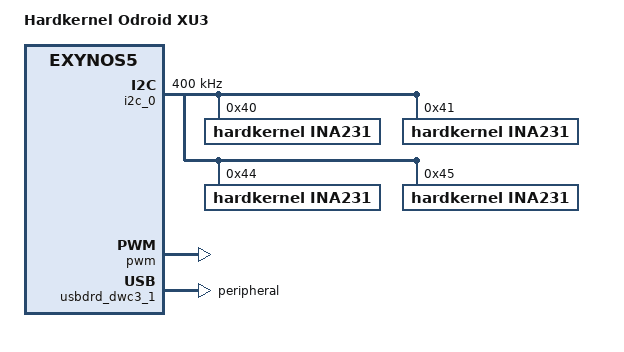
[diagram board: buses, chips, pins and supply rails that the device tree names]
/*
 * Hardkernel Odroid XU3 board device tree source
 *
 * Copyright (c) 2014 Collabora Ltd.
 * Copyright (c) 2013 Samsung Electronics Co., Ltd.
 *		http://www.samsung.com
 *
 * This program is free software; you can redistribute it and/or modify
 * it under the terms of the GNU General Public License version 2 as
 * published by the Free Software Foundation.
*/

/dts-v1/;
#include "exynos5422-odroidxu3-common.dtsi"
#include "exynos5422-odroidxu3-audio.dtsi"
#include "exynos54xx-odroidxu-leds.dtsi"

/ {
	model = "Hardkernel Odroid XU3";
	compatible = "hardkernel,odroid-xu3", "samsung,exynos5800", "samsung,exynos5";
};

/*
	i2c0 INA231 Sensors

	- drivers/hardkernel/ina231.h

	 config         = INA231_CONFIG(VSH_CT(eVSH_CT_8244uS)     | \
	                                VBUS_CT(eVBUS_CT_8244uS)   | \
	                                AVG_BIT(eAVG_16)           | \
	                                eSHUNT_BUS_VOLT_CONTINUOUS),
	update_period  = CONVERSION_DELAY(eVSH_CON_8244uS, eVBUS_CON_8244uS, eAVG_CON_16),
*/

&i2c_0 {
	status = "okay";
	clock-frequency = <400000>;
	ina231@40  {
		compatible = "hardkernel,INA231";
		reg = <0x40>;
		sensor-name = "sensor_arm";
		enable = <0>;
		max_A = <9>;
		shunt_R_mohm = <10>;
		config = <0x45FF>;
		update_period = <263808>;
	};
	ina231@41  {
		compatible = "hardkernel,INA231";
		reg = <0x41>;
		sensor-name = "sensor_mem";
		enable = <0>;
		max_A = <3>;
		shunt_R_mohm = <10>;
		config = <0x45FF>;
		update_period = <263808>;
	};
	ina231@44  {
		compatible = "hardkernel,INA231";
		reg = <0x44>;
		sensor-name = "sensor_g3d";
		enable = <0>;
		max_A = <5>;
		shunt_R_mohm = <10>;
		config = <0x45FF>;
		update_period = <263808>;
	};
	ina231@45  {
		compatible = "hardkernel,INA231";
		reg = <0x45>;
		sensor-name = "sensor_kfc";
		enable = <0>;
		max_A = <2>;
		shunt_R_mohm = <10>;
		config = <0x45FF>;
		update_period = <263808>;
	};
};

&pwm {
	/*
	 * PWM 0 -- fan
	 * PWM 1 -- Green LED
	 * PWM 2 -- Blue LED
	 * PWM 3 -- on MIPI connector for backlight
	 */
	pinctrl-0 = <&pwm0_out &pwm1_out &pwm2_out &pwm3_out>;
	pinctrl-names = "default";
	status = "okay";
};

&usbdrd_dwc3_1 {
	dr_mode = "peripheral";
};
